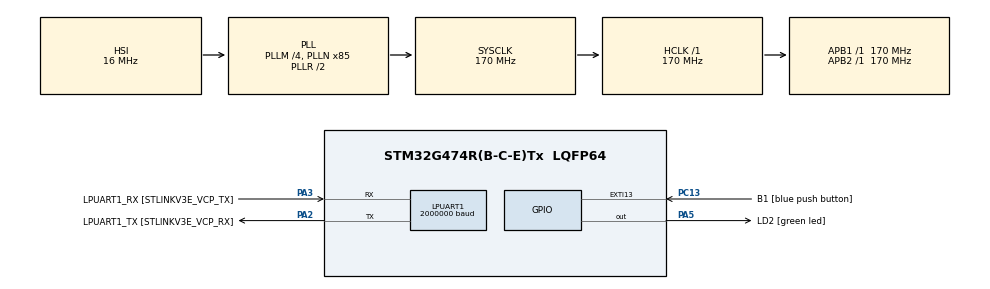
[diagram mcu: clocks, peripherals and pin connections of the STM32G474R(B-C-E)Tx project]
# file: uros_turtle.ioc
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Dma.LPUART1_RX.0.Direction=DMA_PERIPH_TO_MEMORY
Dma.LPUART1_RX.0.EventEnable=DISABLE
Dma.LPUART1_RX.0.Instance=DMA1_Channel1
Dma.LPUART1_RX.0.MemDataAlignment=DMA_MDATAALIGN_BYTE
Dma.LPUART1_RX.0.MemInc=DMA_MINC_ENABLE
Dma.LPUART1_RX.0.Mode=DMA_CIRCULAR
Dma.LPUART1_RX.0.PeriphDataAlignment=DMA_PDATAALIGN_BYTE
Dma.LPUART1_RX.0.PeriphInc=DMA_PINC_DISABLE
Dma.LPUART1_RX.0.Polarity=HAL_DMAMUX_REQ_GEN_RISING
Dma.LPUART1_RX.0.Priority=DMA_PRIORITY_VERY_HIGH
Dma.LPUART1_RX.0.RequestNumber=1
Dma.LPUART1_RX.0.SignalID=NONE
Dma.LPUART1_RX.0.SyncEnable=DISABLE
Dma.LPUART1_RX.0.SyncPolarity=HAL_DMAMUX_SYNC_NO_EVENT
Dma.LPUART1_RX.0.SyncRequestNumber=1
Dma.LPUART1_RX.0.SyncSignalID=NONE
Dma.LPUART1_TX.1.Direction=DMA_MEMORY_TO_PERIPH
Dma.LPUART1_TX.1.EventEnable=DISABLE
Dma.LPUART1_TX.1.Instance=DMA1_Channel2
Dma.LPUART1_TX.1.MemDataAlignment=DMA_MDATAALIGN_BYTE
Dma.LPUART1_TX.1.MemInc=DMA_MINC_ENABLE
Dma.LPUART1_TX.1.Mode=DMA_NORMAL
Dma.LPUART1_TX.1.PeriphDataAlignment=DMA_PDATAALIGN_BYTE
Dma.LPUART1_TX.1.PeriphInc=DMA_PINC_DISABLE
Dma.LPUART1_TX.1.Polarity=HAL_DMAMUX_REQ_GEN_RISING
Dma.LPUART1_TX.1.Priority=DMA_PRIORITY_VERY_HIGH
Dma.LPUART1_TX.1.RequestNumber=1
Dma.LPUART1_TX.1.SignalID=NONE
Dma.LPUART1_TX.1.SyncEnable=DISABLE
Dma.LPUART1_TX.1.SyncPolarity=HAL_DMAMUX_SYNC_NO_EVENT
Dma.LPUART1_TX.1.SyncRequestNumber=1
Dma.LPUART1_TX.1.SyncSignalID=NONE
Dma.Request0=LPUART1_RX
Dma.Request1=LPUART1_TX
FREERTOS.Tasks01=defaultTask,24,3000,StartDefaultTask,Default,NULL,Static,defaultTaskBuffer,defaultTaskControlBlock
IWDG.Reload=2499
LPUART1.BaudRate=2000000
Mcu.Family=STM32G4
Mcu.Name=STM32G474R(B-C-E)Tx
Mcu.Package=LQFP64
NVIC.DMA1_Channel1_IRQn=true\:5\:0\:false\:false\:true\:true\:false\:true\:true
NVIC.DMA1_Channel2_IRQn=true\:5\:0\:false\:false\:true\:true\:false\:true\:true
NVIC.EXTI15_10_IRQn=true\:5\:0\:false\:false\:true\:true\:true\:true\:true
NVIC.LPUART1_IRQn=true\:5\:0\:false\:false\:true\:true\:true\:true\:true
NVIC.PriorityGroup=NVIC_PRIORITYGROUP_4
NVIC.TIM1_UP_TIM16_IRQn=true\:15\:0\:false\:false\:true\:false\:false\:true\:true
NVIC.TimeBase=TIM1_UP_TIM16_IRQn
NVIC.TimeBaseIP=TIM1
PA13.GPIO_Label=T_SWDIO
PA13.Signal=SYS_JTMS-SWDIO
PA14.GPIO_Label=T_SWCLK
PA14.Signal=SYS_JTCK-SWCLK
PA2.GPIO_Label=LPUART1_TX [STLINKV3E_VCP_RX]
PA2.Mode=Asynchronous
PA2.Signal=LPUART1_TX
PA3.GPIO_Label=LPUART1_RX [STLINKV3E_VCP_TX]
PA3.Mode=Asynchronous
PA3.Signal=LPUART1_RX
PA5.GPIO_Label=LD2 [green led]
PA5.Signal=GPIO_Output
PB3.GPIO_Label=T_SWO
PB3.Signal=SYS_JTDO-SWO
PC13.GPIO_Label=B1 [blue push button]
PC13.Signal=GPXTI13
PC14-OSC32_IN.GPIO_Label=RCC_OSC32_IN
PC14-OSC32_IN.Signal=RCC_OSC32_IN
PC15-OSC32_OUT.GPIO_Label=RCC_OSC32_OUT
PC15-OSC32_OUT.Signal=RCC_OSC32_OUT
PF0-OSC_IN.GPIO_Label=RCC_OSC_IN
PF0-OSC_IN.Mode=HSE-External-Oscillator
PF0-OSC_IN.Signal=RCC_OSC_IN
PF1-OSC_OUT.GPIO_Label=RCC_OSC_OUT
PF1-OSC_OUT.Mode=HSE-External-Oscillator
PF1-OSC_OUT.Signal=RCC_OSC_OUT
ProjectManager.HeapSize=0x200
ProjectManager.StackSize=0x400
ProjectManager.TargetToolchain=STM32CubeIDE
RCC.ADC12Freq_Value=170000000
RCC.ADC345Freq_Value=170000000
RCC.AHBFreq_Value=170000000
RCC.APB1Freq_Value=170000000
RCC.APB1TimFreq_Value=170000000
RCC.APB2Freq_Value=170000000
RCC.APB2TimFreq_Value=170000000
RCC.CortexFreq_Value=170000000
RCC.EXTERNAL_CLOCK_VALUE=12288000
RCC.HCLKFreq_Value=170000000
RCC.HSE_VALUE=24000000
RCC.HSI48_VALUE=48000000
RCC.HSI_VALUE=16000000
RCC.LSE_VALUE=32768
RCC.PLLM=RCC_PLLM_DIV4
RCC.PLLN=85
RCC.RTCClockSelection=RCC_RTCCLKSOURCE_LSE
RCC.SYSCLKFreq_VALUE=170000000
RCC.SYSCLKSource=RCC_SYSCLKSOURCE_PLLCLK
RCC.USBFreq_Value=170000000
RCC.VCOOutputFreq_Value=340000000
VP_FREERTOS_VS_CMSIS_V2.Mode=CMSIS_V2
VP_IWDG_VS_IWDG.Mode=IWDG_Activate
VP_SYS_VS_DBSignals.Mode=DisableDeadBatterySignals
VP_SYS_VS_tim1.Mode=TIM1
board=NUCLEO-G474RE

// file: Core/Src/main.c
/* USER CODE BEGIN Header */
/**
 ******************************************************************************
 * @file           : main.c
 * @brief          : Main program body
 ******************************************************************************
 * @attention
 *
 * Copyright (c) 2025 STMicroelectronics.
 * All rights reserved.
 *
 * This software is licensed under terms that can be found in the LICENSE file
 * in the root directory of this software component.
 * If no LICENSE file comes with this software, it is provided AS-IS.
 *
 ******************************************************************************
 */
/* USER CODE END Header */
#include "main.h"
#include "cmsis_os.h"
#include "dma.h"
#include "iwdg.h"
#include "usart.h"
#include "gpio.h"

/* USER CODE BEGIN Includes */
#include <rcl/rcl.h>
#include <rcl/error_handling.h>
#include <rclc/rclc.h>
#include <rclc/executor.h>
#include <uxr/client/transport.h>
#include <rmw_microxrcedds_c/config.h>
#include <rmw_microros/rmw_microros.h>

#include <turtlesim/srv/kill.h>
#include <turtlesim/srv/spawn.h>
/* USER CODE END Includes */

/* USER CODE BEGIN PM */
#define RCLSOFTCHECK(fn) if (fn!= RCL_RET_OK){};
/* USER CODE END PM */

/* USER CODE BEGIN PV */
rcl_node_t node;
rclc_support_t support;
rcl_allocator_t allocator;
rcl_init_options_t init_options;
rclc_executor_t executor;

rcl_timer_t timer;
const unsigned int timer_period = RCL_MS_TO_NS(10);
const int timeout_ms = 1000;

rcl_client_t kill_client;
turtlesim__srv__Kill_Request kill_req;
turtlesim__srv__Kill_Response kill_res;

// Button state flag
volatile uint8_t button_pressed = 0;
/* USER CODE END PV */

void SystemClock_Config(void);
void MX_FREERTOS_Init(void);
/* USER CODE BEGIN PFP */
bool cubemx_transport_open(struct uxrCustomTransport *transport);
bool cubemx_transport_close(struct uxrCustomTransport *transport);
size_t cubemx_transport_write(struct uxrCustomTransport *transport,
		const uint8_t *buf, size_t len, uint8_t *err);
size_t cubemx_transport_read(struct uxrCustomTransport *transport, uint8_t *buf,
		size_t len, int timeout, uint8_t *err);

void* microros_allocate(size_t size, void *state);
void microros_deallocate(void *pointer, void *state);
void* microros_reallocate(void *pointer, size_t size, void *state);
void* microros_zero_allocate(size_t number_of_elements, size_t size_of_element,
		void *state);

void timer_callback(rcl_timer_t *timer, int64_t last_call_time);
void send_kill_turtle_request(const char* turtle_name);
/* USER CODE END PFP */

/* USER CODE BEGIN 0 */
void HAL_GPIO_EXTI_Callback(uint16_t GPIO_Pin) {
    if (GPIO_Pin == GPIO_PIN_13) {
        button_pressed = 1;
    }
}

void send_kill_turtle_request(const char* turtle_name) {
    // Set the turtle name to kill
	turtlesim__srv__Kill_Request__init(&kill_req);

    memset(kill_req.name.data, 0, kill_req.name.capacity);
    strcpy(kill_req.name.data, turtle_name);
    kill_req.name.size = strlen(turtle_name);

    // Send the service request
    int64_t sequence_number;
    RCLSOFTCHECK(rcl_send_request(&kill_client, &kill_req, &sequence_number));
}

void timer_callback(rcl_timer_t *timer, int64_t last_call_time) {
    static uint8_t cnt = 0;

    if (timer != NULL) {
        // Sync micro-ROS session
        rmw_uros_sync_session(timeout_ms);

        if (button_pressed) {
            send_kill_turtle_request("turtle1");
            send_kill_turtle_request("turtle2");
            button_pressed = 0;
        }

        // Toggle LED every 50 cycles (approximately every 0.5 seconds)
        if (cnt == 0)
            HAL_GPIO_TogglePin(LD2_GPIO_Port, LD2_Pin);
        cnt = (cnt + 1) % 50;

        HAL_IWDG_Refresh(&hiwdg);
    }
}

void StartDefaultTask(void *argument) {

	// micro-ROS configuration
	rmw_uros_set_custom_transport(true, (void*) &hlpuart1,
			cubemx_transport_open, cubemx_transport_close,
			cubemx_transport_write, cubemx_transport_read);

	rcl_allocator_t freeRTOS_allocator =
			rcutils_get_zero_initialized_allocator();
	freeRTOS_allocator.allocate = microros_allocate;
	freeRTOS_allocator.deallocate = microros_deallocate;
	freeRTOS_allocator.reallocate = microros_reallocate;
	freeRTOS_allocator.zero_allocate = microros_zero_allocate;

	if (!rcutils_set_default_allocator(&freeRTOS_allocator)) {
		printf("Error on default allocators (line %d)\n", __LINE__);
	}
	allocator = rcl_get_default_allocator();

	//create init
	init_options = rcl_get_zero_initialized_init_options();
	RCLSOFTCHECK(rcl_init_options_init(&init_options, allocator));
	RCLSOFTCHECK(rcl_init_options_set_domain_id(&init_options, 99));

	//create support
	rclc_support_init_with_options(&support, 0, NULL, &init_options,
			&allocator);

	// create node
	rclc_node_init_default(&node, "uros_turtle", "", &support);

	//create timer
	rclc_timer_init_default(&timer, &support, timer_period, timer_callback);

	kill_req.name.capacity = 20;
	kill_req.name.data = (char*) malloc(kill_req.name.capacity * sizeof(char));
	kill_req.name.size = 0;

	rcl_client_options_t client_options = rcl_client_get_default_options();
	RCLSOFTCHECK(rclc_client_init_default(
		&kill_client,
		&node,
		ROSIDL_GET_SRV_TYPE_SUPPORT(turtlesim, srv, Kill),
		"/remove_turtle"));  // Custom service name

	//create executor
	executor = rclc_executor_get_zero_initialized_executor();
	rclc_executor_init(&executor, &support.context, 2, &allocator); //total number of handles = #subscriptions + #timers
	rclc_executor_add_timer(&executor, &timer);
	rclc_executor_add_client(&executor, &kill_client, &kill_res, NULL);
	rclc_executor_spin(&executor);

	free(kill_req.name.data);
}
/* USER CODE END 0 */

int main(void)
{

  /* MCU Configuration--------------------------------------------------------*/

  /* Reset of all peripherals, Initializes the Flash interface and the Systick. */
  HAL_Init();

  /* Configure the system clock */
  SystemClock_Config();

  /* Initialize all configured peripherals */
  MX_GPIO_Init();
  MX_DMA_Init();
  MX_LPUART1_UART_Init();
  MX_IWDG_Init();

  /* Init scheduler */
  osKernelInitialize();

  /* Call init function for freertos objects (in cmsis_os2.c) */
  MX_FREERTOS_Init();

  /* Start scheduler */
  osKernelStart();

  /* We should never get here as control is now taken by the scheduler */

  /* Infinite loop */
	while (1) {

	}
}

void SystemClock_Config(void)
{
  RCC_OscInitTypeDef RCC_OscInitStruct = {0};
  RCC_ClkInitTypeDef RCC_ClkInitStruct = {0};

  /** Configure the main internal regulator output voltage
  */
  HAL_PWREx_ControlVoltageScaling(PWR_REGULATOR_VOLTAGE_SCALE1_BOOST);

  /** Initializes the RCC Oscillators according to the specified parameters
  * in the RCC_OscInitTypeDef structure.
  */
  RCC_OscInitStruct.OscillatorType = RCC_OSCILLATORTYPE_HSI|RCC_OSCILLATORTYPE_LSI;
  RCC_OscInitStruct.HSIState = RCC_HSI_ON;
  RCC_OscInitStruct.HSICalibrationValue = RCC_HSICALIBRATION_DEFAULT;
  RCC_OscInitStruct.LSIState = RCC_LSI_ON;
  RCC_OscInitStruct.PLL.PLLState = RCC_PLL_ON;
  RCC_OscInitStruct.PLL.PLLSource = RCC_PLLSOURCE_HSI;
  RCC_OscInitStruct.PLL.PLLM = RCC_PLLM_DIV4;
  RCC_OscInitStruct.PLL.PLLN = 85;
  RCC_OscInitStruct.PLL.PLLP = RCC_PLLP_DIV2;
  RCC_OscInitStruct.PLL.PLLQ = RCC_PLLQ_DIV2;
  RCC_OscInitStruct.PLL.PLLR = RCC_PLLR_DIV2;
  if (HAL_RCC_OscConfig(&RCC_OscInitStruct) != HAL_OK)
  {
    Error_Handler();
  }

  /** Initializes the CPU, AHB and APB buses clocks
  */
  RCC_ClkInitStruct.ClockType = RCC_CLOCKTYPE_HCLK|RCC_CLOCKTYPE_SYSCLK
                              |RCC_CLOCKTYPE_PCLK1|RCC_CLOCKTYPE_PCLK2;
  RCC_ClkInitStruct.SYSCLKSource = RCC_SYSCLKSOURCE_PLLCLK;
  RCC_ClkInitStruct.AHBCLKDivider = RCC_SYSCLK_DIV1;
  RCC_ClkInitStruct.APB1CLKDivider = RCC_HCLK_DIV1;
  RCC_ClkInitStruct.APB2CLKDivider = RCC_HCLK_DIV1;

  if (HAL_RCC_ClockConfig(&RCC_ClkInitStruct, FLASH_LATENCY_4) != HAL_OK)
  {
    Error_Handler();
  }
}

void HAL_TIM_PeriodElapsedCallback(TIM_HandleTypeDef *htim)
{
  if (htim->Instance == TIM1)
  {
    HAL_IncTick();
  }
}

void Error_Handler(void)
{
	__disable_irq();
	while (1) {
	}
}
